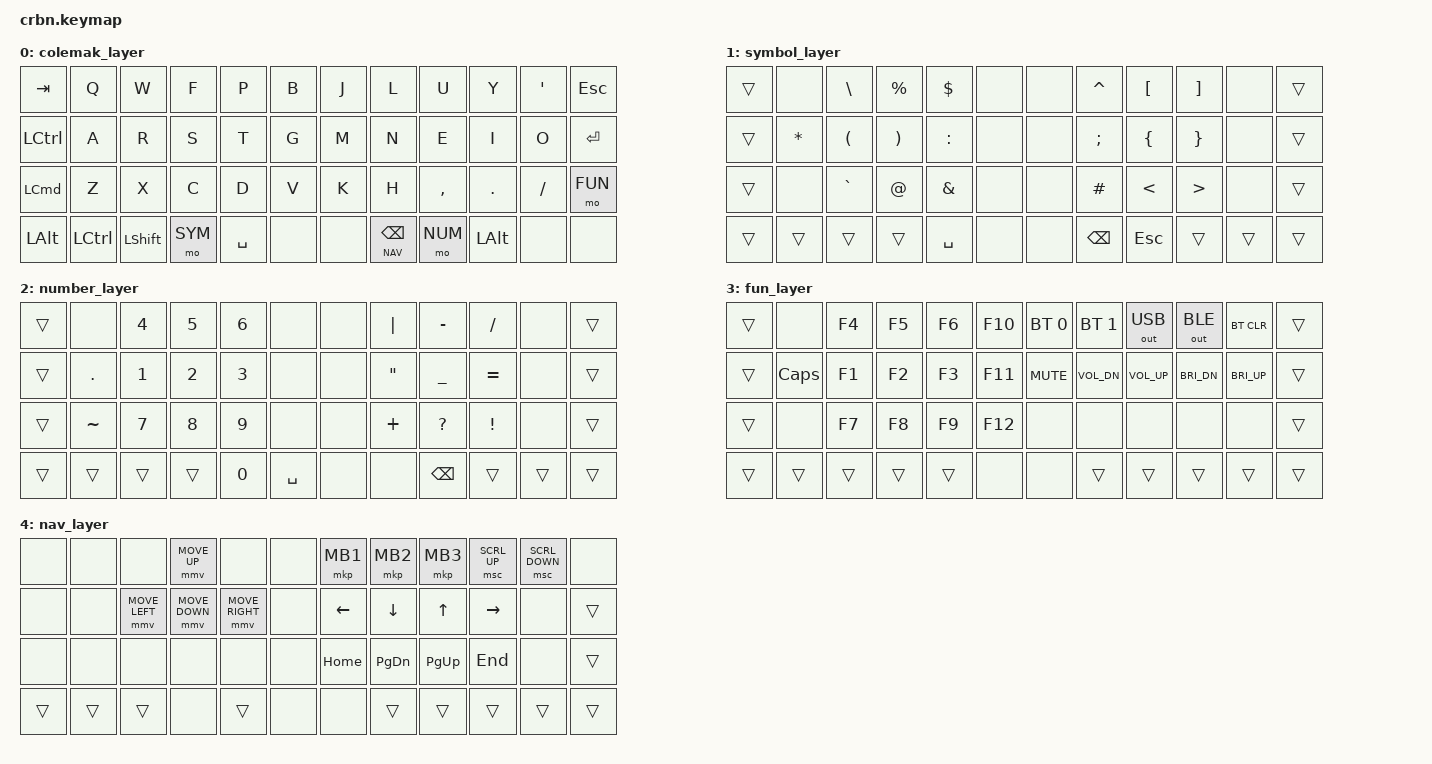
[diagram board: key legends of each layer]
/*
 * Copyright (c) 2020 The ZMK Contributors
 *
 * SPDX-License-Identifier: MIT
 */

#include <behaviors.dtsi>
#include <dt-bindings/zmk/keys.h>
#include <dt-bindings/zmk/bt.h>
#include <dt-bindings/zmk/outputs.h>
#include <dt-bindings/zmk/ext_power.h>
#include <dt-bindings/zmk/mouse.h>
#include <dt-bindings/zmk/pointing.h>
 
#define CMK 0
#define SYM 1
#define NUM 2
#define FUN 3
#define NAV 4

&caps_word {
   continue-list = <UNDERSCORE MINUS BACKSPACE>;
};


/ {

    behaviors {
        skq: sticky_key_quick_release {
            compatible = "zmk,behavior-sticky-key";
            label = "STICKY_KEY_QUICK_RELEASE";
            #binding-cells = <1>;
            bindings = <&kp>;
            release-after-ms = <1000>;
            quick-release;
        };
    };

    combos {
        compatible = "zmk,combos";
        combo_wf_tab {
            layers = <0 1 2 3 4 5>;
            timeout-ms = <50>;
            // W + F
            key-positions = <2 3>;
            bindings = <&kp TAB>;
        };
        combo_uy_del {
            layers = <0 1 2 3 4 5>;
            timeout-ms = <50>;
            // U + Y
            key-positions = <8 9>;
            bindings = <&kp DEL>;
        };
        combo_gm_capsword {
            layers = <0 1 2 3 4 5>;
            timeout-ms = <100>;
            // G + M
            key-positions = <17 18>;
            bindings = <&caps_word>;
        };
        combo_xc_ctrl {
            layers = <0 1 2 3 4 5>;
            timeout-ms = <50>;
            // Z + X
            key-positions = <26 27>;
            bindings = <&sk LCTL>;
        };
        combo_commadot_shift {
            layers = <0 1 2 3 4 5>;
            timeout-ms = <50>;
            // , + . = shift
            key-positions = <32 33>;
            bindings = <&skq LSHFT>;
        };
        combo_cmd {
            layers = <0 1 2 3 4 5>;
            timeout-ms = <50>;
            // SYM + SPC = CMD
            key-positions = <39 40>;
            bindings = <&sk LCMD>;
        };
        combo_opt {
            layers = <0 1 2 3 4 5>;
            timeout-ms = <50>;
            // NUM + ENT = OPT
            key-positions = <43 44>;
            bindings = <&sk LALT>;
        };
        combo_opt_alt {
            layers = <0 1 2 3 4 5>;
            timeout-ms = <50>;
            key-positions = <7 8>;
            bindings = <&sk LALT>;
        };
        combo_cmd_alt {
            layers = <0 1 2 3 4 5>;
            timeout-ms = <50>;
            key-positions = <3 4>;
            bindings = <&sk LCMD>;
        };
        combo_ent {
            layers = <0 1 2 3 4 5>;
            timeout-ms = <80>;
            // SPC + BSPC = ENT
            key-positions = <40 43>;
            bindings = <&kp RET>;
        };
    };
};



/ {
        keymap {
                compatible = "zmk,keymap";
                colemak_layer {
                        bindings = <
   &kp TAB  &kp Q &kp W &kp F &kp P &kp B &kp J &kp L &kp U &kp Y &kp SQT &kp ESC
   &kp LCTL &kp A &kp R &kp S &kp T &kp G &kp M &kp N &kp E &kp I &kp O   &kp RET    
   &kp LCMD &kp Z &kp X &kp C &kp D &kp V &kp K &kp H &kp COMMA &kp DOT &kp SLASH &mo FUN  
   &kp LALT &kp LCTL &kp LSHFT &mo SYM &kp SPACE &none &none &lt NAV BSPC &mo NUM &kp LALT &none &none
                        >;
                };
                symbol_layer {
                        bindings = <
   &trans &none &kp BSLH  &kp PRCNT &kp DLLR &none &none &kp CARET &kp LBKT &kp RBKT &none &trans
   &trans &kp STAR &kp LPAR  &kp RPAR  &kp COLON &none &none &kp SEMI  &kp LBRC &kp RBRC &none &trans
   &trans &none    &kp GRAVE &kp AT    &kp AMPS &none &none &kp HASH  &kp LT   &kp GT   &none &trans
   &trans &trans &trans &trans &kp SPACE &none &none &kp BSPC &kp ESC &trans &trans &trans
                        >;
                };
                number_layer {
                        bindings = <
   &trans &none &kp N4 &kp N5 &kp N6 &none &none &kp PIPE &kp MINUS &kp SLASH &none &trans
   &trans &kp DOT &kp N1 &kp N2 &kp N3 &none &none &kp DQT &kp UNDER &kp EQUAL &none &trans
   &trans &kp TILDE &kp N7 &kp N8 &kp N9 &none &none &kp PLUS &kp QMARK  &kp EXCL &none &trans
   &trans &trans &trans &trans &kp N0 &kp SPACE &none &none &kp BSPC  &trans &trans &trans 
                        >;
                };
                fun_layer {
                        bindings = <
   &trans &none    &kp F4 &kp F5 &kp F6 &kp F10 &bt BT_SEL 0 &bt BT_SEL 1  &out OUT_USB &out OUT_BLE &bt BT_CLR &trans
   &trans &kp CAPS &kp F1 &kp F2 &kp F3 &kp F11 &kp K_MUTE   &kp C_VOL_DN  &kp C_VOL_UP &kp C_BRI_DN &kp C_BRI_UP &trans
   &trans &none    &kp F7 &kp F8 &kp F9 &kp F12 &none        &none         &none        &none        &none      &trans
   &trans &trans &trans &trans &trans &none &none &trans &trans &trans &trans &trans
                        >;
                };
                nav_layer {
                        bindings = <
   &none &none &none &mmv MOVE_UP &none &none &mkp MB1 &mkp MB2    &mkp MB3     &msc SCRL_UP     &msc SCRL_DOWN     &none  
   &none &none &mmv MOVE_LEFT &mmv MOVE_DOWN &mmv MOVE_RIGHT &none &kp LEFT &kp DOWN  &kp UP    &kp RIGHT &none &trans 
   &none &none &none &none &none &none &kp HOME &kp PG_DN &kp PG_UP &kp END &none &trans
   &trans &trans &trans &none &trans &none &none &trans &trans &trans &trans &trans
                        >;
                };
        };
};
